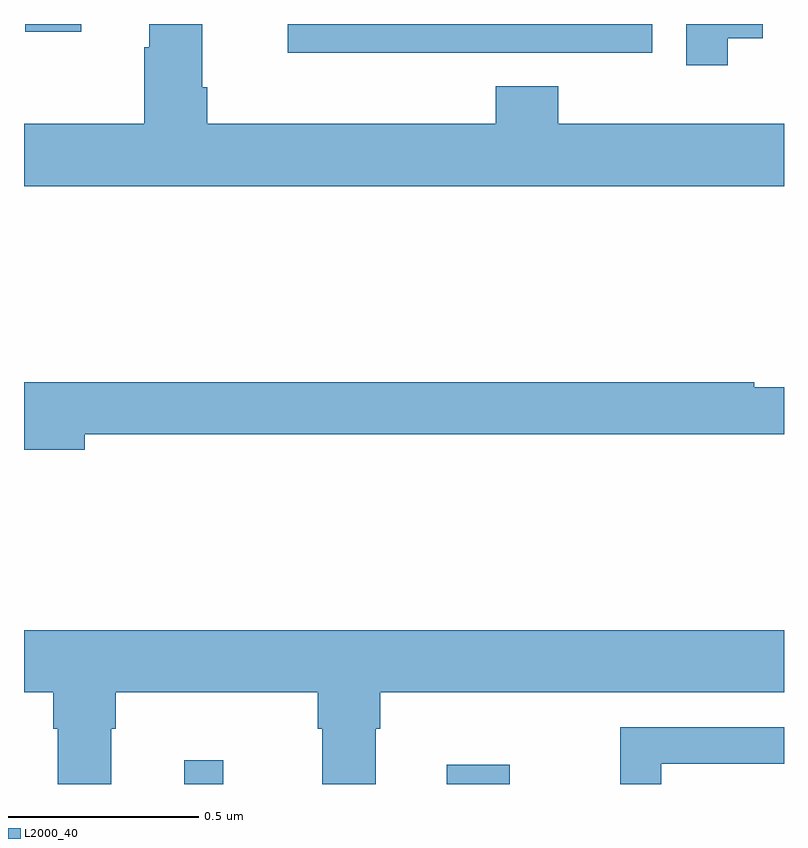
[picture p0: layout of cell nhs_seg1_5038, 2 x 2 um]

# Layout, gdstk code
import gdstk
lib = gdstk.Library(unit=1e-6, precision=1e-09)
def R(c, l, rs):  # rectangles x0, y0, x1, y1
    for r in rs: c.add(gdstk.rectangle(r[:2], r[2:], *l))
def P(c, l, *ps):  # polygons
    for p in ps: c.add(gdstk.Polygon(p, *l))
L2000_40 = (2000, 40)

nhs_seg1_5038 = lib.new_cell('nhs_seg1_5038')
R(nhs_seg1_5038, L2000_40, [(174.422,510.199,174.524,510.262), (175.112,510.199,175.278,510.25), (174.003,512.178,174.151,512.199)])
P(nhs_seg1_5038, L2000_40, [(176,511.936),(175.406,511.936),(175.406,512.035),(175.241,512.035),(175.241,511.936),(174.482,511.936),(174.482,512.032),(174.469,512.032),(174.469,512.199),(174.329,512.199),(174.329,512.138),(174.317,512.138),(174.317,511.936),(174,511.936),(174,511.772),(176,511.772)],
  [(175.852,512.161),(175.944,512.161),(175.944,512.199),(175.743,512.199),(175.743,512.091),(175.852,512.091)],
  [(175.157,512.124),(175.653,512.124),(175.653,512.199),(174.694,512.199),(174.694,512.123),(175.157,512.123)],
  [(174.16,511.12),(176,511.12),(176,511.243),(175.922,511.243),(175.922,511.256),(174,511.256),(174,511.078),(174.16,511.078)],
  [(174.229,510.344),(174.242,510.344),(174.242,510.44),(174.773,510.44),(174.773,510.344),(174.785,510.344),(174.785,510.199),(174.925,510.199),(174.925,510.344),(174.938,510.344),(174.938,510.44),(176,510.44),(176,510.604),(174,510.604),(174,510.44),(174.077,510.44),(174.077,510.344),(174.089,510.344),(174.089,510.199),(174.229,510.199)],
  [(175.677,510.252),(176,510.252),(176,510.348),(175.569,510.348),(175.569,510.199),(175.677,510.199)])

lib.write_gds('nhs_seg1_5038.gds')
